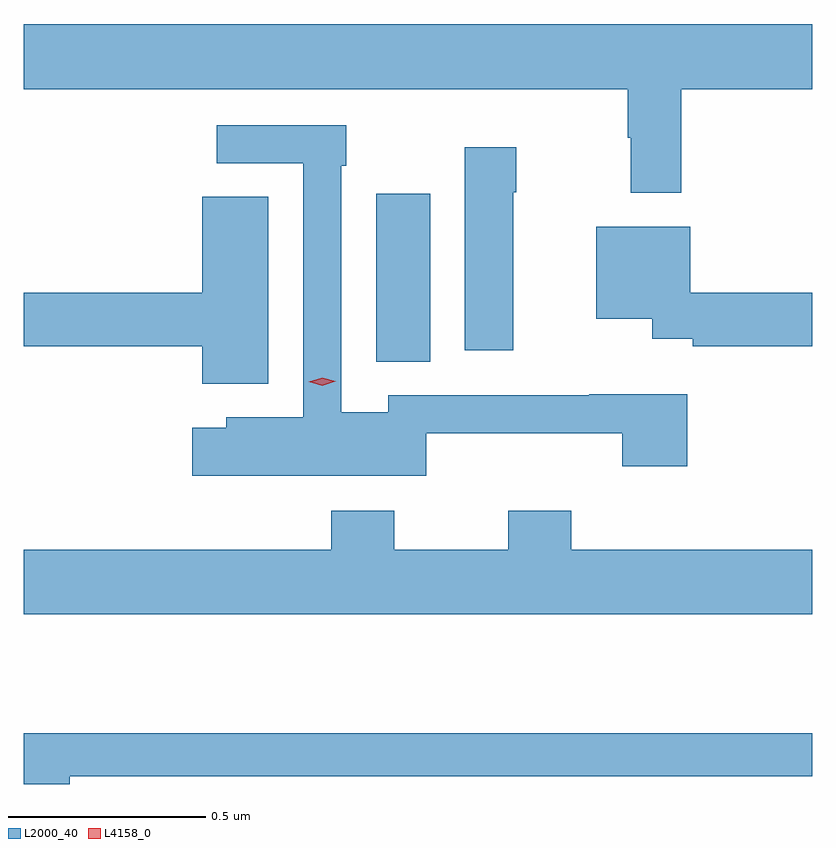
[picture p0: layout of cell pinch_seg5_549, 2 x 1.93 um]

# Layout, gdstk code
import gdstk
lib = gdstk.Library(unit=1e-6, precision=1e-09)
def R(c, l, rs):  # rectangles x0, y0, x1, y1
    for r in rs: c.add(gdstk.rectangle(r[:2], r[2:], *l))
def P(c, l, *ps):  # polygons
    for p in ps: c.add(gdstk.Polygon(p, *l))
L2000_40 = (2000, 40)
L4158_0 = (4158, 0)

pinch_seg5_549 = lib.new_cell('pinch_seg5_549')
R(pinch_seg5_549, L2000_40, [(954.347,849.409,954.484,849.835)])
P(pinch_seg5_549, L2000_40, [(955.121,850.1),(955.453,850.1),(955.453,850.264),(955.401,850.264),(955.401,850.265),(955.241,850.265),(955.241,850.264),(953.453,850.264),(953.453,850.1),(954.985,850.1),(954.985,849.977),(954.993,849.977),(954.993,849.837),(955.121,849.837)],
  [(954.474,849.227),(954.971,849.227),(954.971,849.144),(955.136,849.144),(955.136,849.326),(954.887,849.326),(954.887,849.324),(954.378,849.324),(954.378,849.28),(954.258,849.28),(954.258,849.905),(954.271,849.905),(954.271,850.008),(953.943,850.008),(953.943,849.912),(954.162,849.912),(954.162,849.268),(953.967,849.268),(953.967,849.241),(953.88,849.241),(953.88,849.119),(954.474,849.119)],
  [(954.694,849.839),(954.702,849.839),(954.702,849.952),(954.572,849.952),(954.572,849.438),(954.694,849.438)],
  [(954.073,849.827),(953.906,849.827),(953.906,849.584),(953.453,849.584),(953.453,849.448),(953.906,849.448),(953.906,849.353),(954.073,849.353)],
  [(955.453,849.584),(955.143,849.584),(955.143,849.751),(954.905,849.751),(954.905,849.518),(955.047,849.518),(955.047,849.467),(955.15,849.467),(955.15,849.448),(955.453,849.448)],
  [(955.453,848.932),(954.842,848.932),(954.842,849.031),(954.682,849.031),(954.682,848.932),(954.393,848.932),(954.393,849.031),(954.233,849.031),(954.233,848.932),(953.453,848.932),(953.453,848.768),(955.453,848.768)],
  [(953.57,848.358),(955.453,848.358),(955.453,848.467),(953.453,848.467),(953.453,848.338),(953.57,848.338)])
P(pinch_seg5_549, L4158_0, [(954.21,849.348),(954.176,849.358),(954.175,849.358),(954.176,849.358),(954.21,849.368),(954.245,849.359),(954.245,849.359),(954.245,849.359)])

lib.write_gds('pinch_seg5_549.gds')
